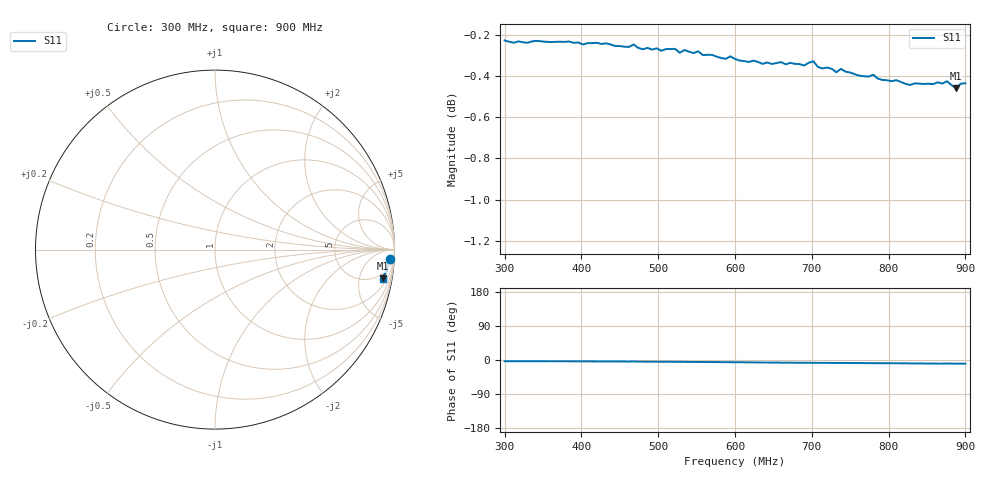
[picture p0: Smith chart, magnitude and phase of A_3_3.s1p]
# HZ S RI R 50
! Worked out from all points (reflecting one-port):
!   101 points, 300 MHz to 900 MHz, reference 50 ohm
!   lowest |S11| = -0.5 dB at 888 MHz (marker M1), VSWR 37.90, Z = 170 - j540 ohm
!   phase of S11 starts at -3 deg and turns -7 deg over the sweep
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3e8  0.9727 -0.0541
3.78e8  0.9717 -0.0585
4.5e8  0.9688 -0.0676
4.62e8  0.9682 -0.0702
4.68e8  0.9698 -0.0657
4.74e8  0.9676 -0.0715
5.22e8  0.9663 -0.081
5.28e8  0.9641 -0.0814
5.52e8  0.9644 -0.0877
5.58e8  0.9622 -0.0894
6e8  0.9591 -0.0989
6.48e8  0.9547 -0.114
6.78e8  0.954 -0.1199
6.96e8  0.9544 -0.1218
7.02e8  0.9547 -0.126
7.08e8  0.9517 -0.1255
7.5e8  0.9476 -0.1326
7.62e8  0.9457 -0.134
7.8e8  0.9453 -0.1402
7.86e8  0.9434 -0.1395
8.28e8  0.9387 -0.148
8.46e8  0.9386 -0.1517
8.52e8  0.9382 -0.1551
8.58e8  0.9382 -0.1537
8.64e8  0.9385 -0.1579
8.76e8  0.9395 -0.1554
8.88e8  0.9352 -0.1588
9e8  0.9374 -0.1616
